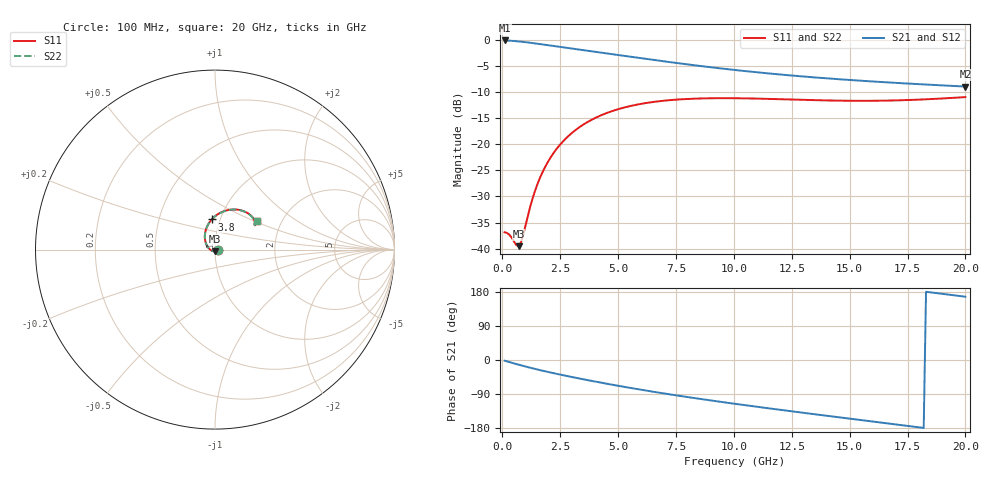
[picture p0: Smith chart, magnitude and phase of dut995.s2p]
! Touchstone file exported from HFSS 2024.1.0
!  File:  C:/UserFiles/LocalFiles/RDL_TSV_Batchsim/temp_RDL_TSV_995_1779976638.aedt
!  Generated:  10:07:31 PM May 28, 2026
!  Design:  RDL_TSV
!  Project:  temp_RDL_TSV_995_1779976638
!  Setup:  Setup1
!  Solution:  Sweep
! Variables:
!  dtsv = 14.45um
!  hbump = 3um
!  htsv = 60.01um
!  ldown = 368.39um
!  lrdl = 428.14um
!  p = 40
!  p1 = 53.18um
!  rhole = 10um
!  subl = 2817.73um
!  t = 450um
!  tdown = 3.92um
!  trdl = 2.42um
!  viad = 10um
!  wdown = 21.05um
!  wrdl = 27.41um
!  xbump = 18um
# GHz S MA R 50.000000
! Terminal data exported
! Port[1] = TM1_1_T1
! Port[2] = TM1_4_T1
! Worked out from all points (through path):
!   200 points, 100 MHz to 20 GHz, reference 50 ohm
!   highest |S21| = -0.13 dB at 100 MHz (marker M1); lowest = -9.0 dB at 20 GHz (marker M2)
!   group delay of S21, straight-line fit = 25.2 ps
!   lowest |S11| = -39.5 dB at 700 MHz (marker M3), VSWR 1.02, Z = 50 - j1.06 ohm
!   |S11| at or under -10 dB: start of sweep to end of sweep
!   |S22| runs from -39.5 to -11.0 dB; largest |S21 - S12| = 1.5e-14
!   S11 on the Smith chart (normalised r, x): 100 MHz: 1.03, -0.00; 3.8 GHz: 0.91, +0.31; 20 GHz: 1.50, +0.52
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0.1  0.01434 -6.5  0.9849 -1.8  0.9849 -1.8  0.01434 -6.5
! Gamma 0 0 0 0
! Port Impedance 50 0 50 0
0.3  0.01364 -23.7  0.9805 -5.5  0.9805 -5.5  0.01364 -23.7
0.6  0.01085 -68.8  0.9693 -10.6  0.9693 -10.6  0.01087 -68.7
0.7  0.01056 -91.4  0.9647 -12.3  0.9647 -12.3  0.01058 -91.2
0.8  0.01138 -115.3  0.9597 -14.0  0.9597 -14.0  0.01139 -115.1
0.9  0.01345 -136.5  0.9544 -15.6  0.9544 -15.6  0.01345 -136.3
1.2  0.02495 -176.3  0.9368 -20.4  0.9368 -20.4  0.02491 -176.2
1.4  0.03501 168.5  0.9242 -23.4  0.9242 -23.4  0.03494 168.6
1.6  0.04603 157.2  0.9113 -26.3  0.9113 -26.3  0.04594 157.3
1.9  0.06354 144.1  0.8918 -30.5  0.8918 -30.5  0.0634 144.1
2.2  0.08147 133.5  0.8726 -34.6  0.8726 -34.6  0.0813 133.6
2.6  0.1052 121.9  0.8477 -39.8  0.8477 -39.8  0.1049 122.0
3.5  0.1542 101.8  0.795 -50.9  0.795 -50.9  0.1539 101.8
3.8  0.1687 96.3  0.7783 -54.5  0.7783 -54.5  0.1684 96.3
5.1  0.2196 76.9  0.7097 -69.1  0.7097 -69.1  0.2191 76.9
6.8  0.2584 58.9  0.6297 -86.5  0.6297 -86.5  0.2578 58.9
8.4  0.2735 47.2  0.5663 -101.4  0.5663 -101.4  0.2728 47.2
10.1  0.2756 38.8  0.512 -116.1  0.512 -116.1  0.2748 38.9
11.7  0.2709 34.0  0.4715 -129.1  0.4715 -129.1  0.2701 34.1
13.4  0.2644 31.7  0.4376 -142.4  0.4376 -142.4  0.2636 31.7
16.7  0.2618 32.4  0.39 -167.8  0.39 -167.8  0.2611 32.5
20  0.2826 34.7  0.3566 167.0  0.3566 167.0  0.2821 34.9
